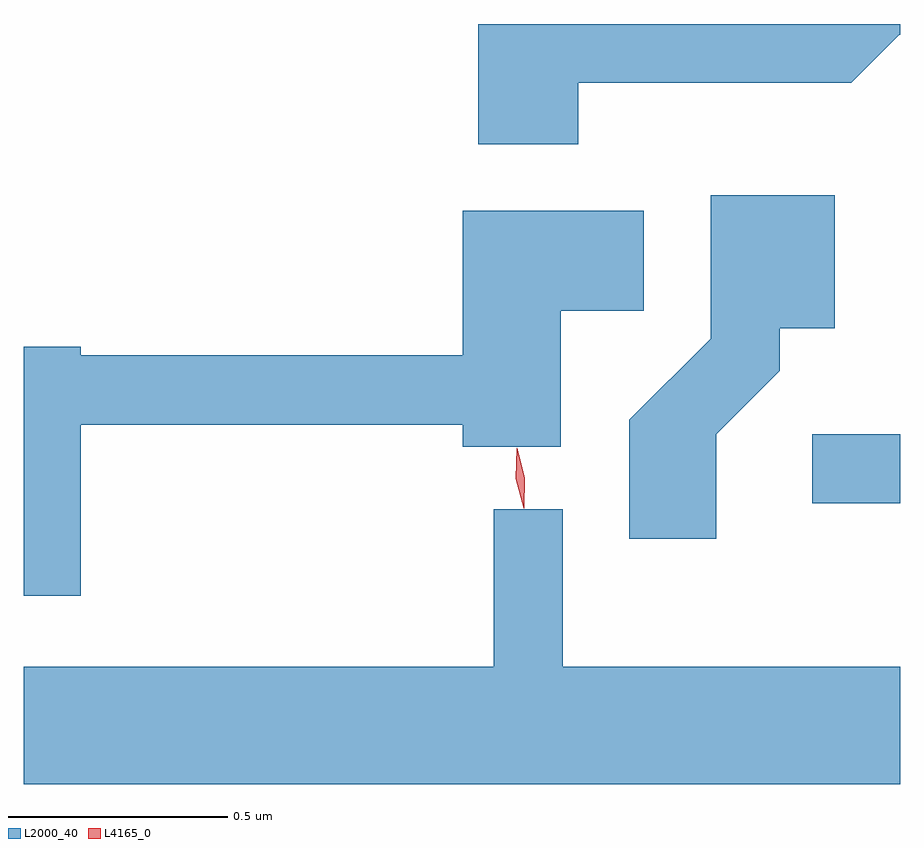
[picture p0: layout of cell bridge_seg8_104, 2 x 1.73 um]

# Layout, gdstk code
import gdstk
lib = gdstk.Library(unit=1e-6, precision=1e-09)
def R(c, l, rs):  # rectangles x0, y0, x1, y1
    for r in rs: c.add(gdstk.rectangle(r[:2], r[2:], *l))
def P(c, l, *ps):  # polygons
    for p in ps: c.add(gdstk.Polygon(p, *l))
L2000_40 = (2000, 40)
L4165_0 = (4165, 0)

bridge_seg8_104 = lib.new_cell('bridge_seg8_104')
R(bridge_seg8_104, L2000_40, [(1570.653,1841.496,1570.854,1841.654)])
P(bridge_seg8_104, L2000_40, [(1570.119,1842.456),(1570.742,1842.456),(1570.852,1842.566),(1570.854,1842.566),(1570.854,1842.59),(1569.891,1842.59),(1569.891,1842.316),(1570.119,1842.316)],
  [(1570.434,1841.654),(1570.579,1841.799),(1570.579,1841.896),(1570.704,1841.896),(1570.704,1842.199),(1570.421,1842.199),(1570.421,1841.872),(1570.236,1841.687),(1570.236,1841.416),(1570.434,1841.416)],
  [(1568.984,1841.676),(1569.856,1841.676),(1569.856,1841.626),(1570.079,1841.626),(1570.079,1841.936),(1570.269,1841.936),(1570.269,1842.164),(1569.856,1842.164),(1569.856,1841.834),(1568.984,1841.834),(1568.984,1841.854),(1568.854,1841.854),(1568.854,1841.286),(1568.984,1841.286)],
  [(1570.854,1841.124),(1570.084,1841.124),(1570.084,1841.483),(1569.926,1841.483),(1569.926,1841.124),(1568.854,1841.124),(1568.854,1840.856),(1570.854,1840.856)])
P(bridge_seg8_104, L4165_0, [(1569.995,1841.485),(1569.995,1841.485),(1569.977,1841.553),(1569.979,1841.622),(1569.98,1841.622),(1569.98,1841.622),(1569.997,1841.555),(1569.996,1841.485)])

lib.write_gds('bridge_seg8_104.gds')
